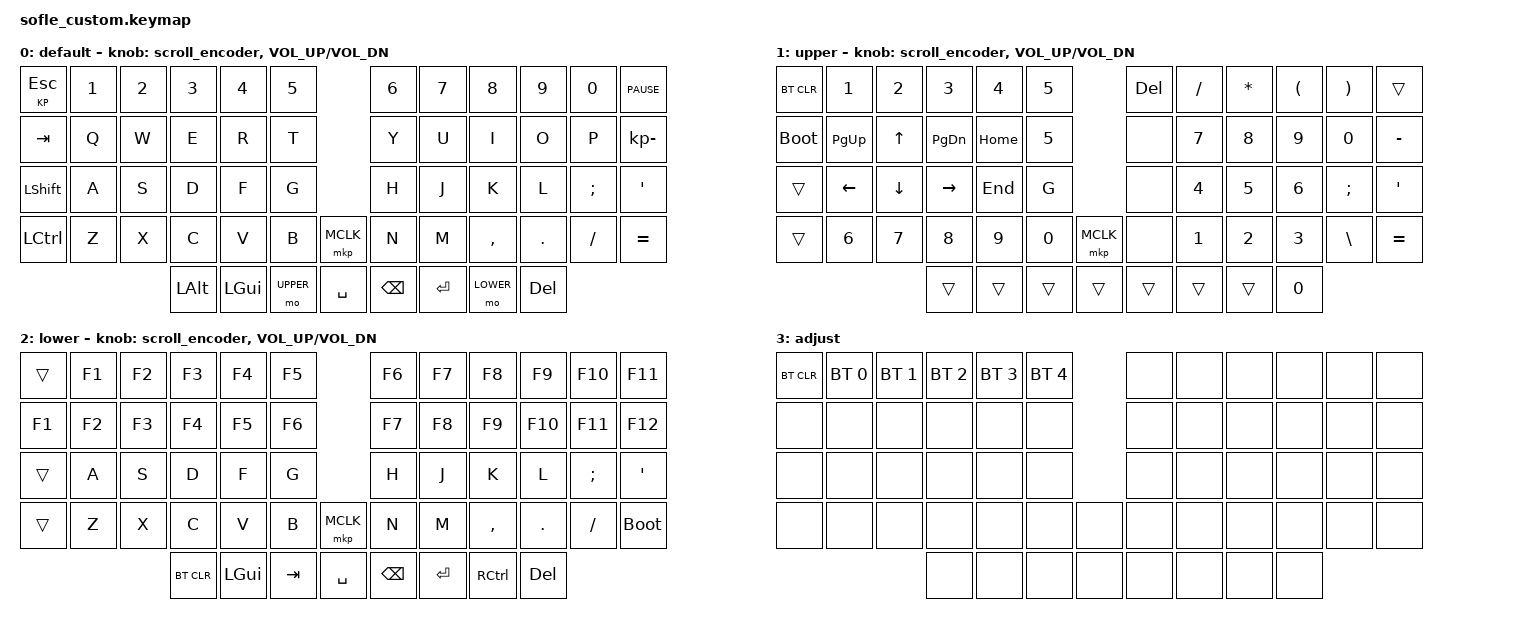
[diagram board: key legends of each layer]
/*
 * Copyright (c) 2020 The ZMK Contributors
 *
 * SPDX-License-Identifier: MIT
 */

#include <behaviors.dtsi>
#include <dt-bindings/zmk/keys.h>
#include <dt-bindings/zmk/bt.h>
#include <dt-bindings/zmk/ext_power.h>
#define ZMK_POINTING_DEFAULT_MOVE_VAL 600  // default: 600
#define ZMK_POINTING_DEFAULT_SCRL_VAL 10   // default: 10
#include <dt-bindings/zmk/pointing.h>

#define BASE 0
#define LOWER 1
#define UPPER 2
#define ADJUST 3

/ {
    behaviors {
        scroll_encoder: scroll_encoder {
            compatible = "zmk,behavior-sensor-rotate";
            #sensor-binding-cells = <0>;
            bindings = <&msc SCRL_DOWN>, <&msc SCRL_UP>;
            tap-ms = <30>;
        };
    };

    conditional_layers {
        compatible = "zmk,conditional-layers";
        adjust_layer {
            if-layers = <LOWER UPPER>;
            then-layer = <ADJUST>;
        };
    };

    keymap {
        compatible = "zmk,keymap";

        default_layer {
            display-name = "default";
// ------------------------------------------------------------------------------------------------------------
// |  ESC   |  1  |  2  |  3   |  4   |  5   |                   |  6    |  7    |  8    |  9   |   0   | PAUSE |
// |  TAB   |  Q  |  W  |  E   |  R   |  T   |                   |  Y    |  U    |  I    |  O   |   P   |   -   |
// |  SHIFT |  A  |  S  |  D   |  F   |  G   |                   |  H    |  J    |  K    |  L   |   ;   |   '   |
// |  CTRL  |  Z  |  X  |  C   |  V   |  B   |  MCLK  |          |  N    |  M    |  ,    |  .   |   /   | EQUAL |
//                      | ALT | GUI  | UPPER |  SPACE |  | SPACE | ENTER | LOWER |  DEL  |
            bindings = <
&KP ESC         &kp N1     &kp N2   &kp N3    &kp N4   &kp N5                         &kp N6    &kp N7     &kp N8     &kp N9   &kp N0    &kp C_PAUSE
&kp TAB         &kp Q      &kp W    &kp E     &kp R    &kp T                          &kp Y     &kp U      &kp I      &kp O    &kp P     &kp KP_MINUS
&kp LSHIFT      &kp A      &kp S    &kp D     &kp F    &kp G                          &kp H     &kp J      &kp K      &kp L    &kp SEMI  &kp SQT
&kp LCTRL       &kp Z      &kp X    &kp C     &kp V    &kp B      &mkp MCLK           &kp N     &kp M      &kp COMMA  &kp DOT  &kp FSLH  &kp EQUAL
                                    &kp LALT  &kp LGUI &mo UPPER  &kp SPACE &kp BSPC  &kp RET  &mo LOWER  &kp DEL>;

            sensor-bindings = <&scroll_encoder &inc_dec_kp C_VOL_UP C_VOL_DN>;
        };

        upper_layer {
            display-name = "upper";
// ------------------------------------------------------------------------------------------------------------
// |  BTCLEAR   |  1     |  2      |  3        |  4    |  5    |                    |  DEL   |  /    |  *    |  (   |   )   | T     |
// |  BOOT      |  PGUP  |  UP     |  PGDN     |  HOME |  NA   |                    |  NA    |  7    |  8    |  9   |   -   |   -   |
// |  T         |  LEFT  |  DOWN   |  RIGHT    |  END  |  NA   |                    |  NA    |  4    |  5    |  6   |   +   |   '   |
// |  T         |  6     |  7      |  8        |  9    |  0    |  MCLK  |           |  NA    |  1    |  2    |  3   |   /   | EQUAL |
//                                 | T         | T     | T     |  T     |   | T     |  T     |  T    |  0    |
            bindings = <
&bt BT_CLR  &kp N1      &kp N2      &kp N3      &kp N4      &kp N5                      &kp DEL     &kp FSLH    &kp ASTRK   &kp LPAR    &kp RPAR  &trans
&bootloader &kp PG_UP   &kp UP      &kp PG_DN   &kp HOME    &kp N5                      &none       &kp N7      &kp N8      &kp N9      &kp N0    &kp MINUS
&trans      &kp LEFT    &kp DOWN    &kp RIGHT   &kp END     &kp G                       &none       &kp N4      &kp N5      &kp N6      &kp SEMI  &kp SQT
&trans      &kp N6      &kp N7      &kp N8      &kp N9      &kp N0  &mkp MCLK           &none       &kp N1      &kp N2      &kp N3      &kp BSLH  &kp EQUAL
                                    &trans      &trans      &trans  &trans      &trans  &trans      &trans      &kp N0>;

            sensor-bindings = <&scroll_encoder &inc_dec_kp C_VOL_UP C_VOL_DN>;
        };

        lower_layer {
            display-name = "lower";
// ------------------------------------------------------------------------------------------------------------
// |  T   |  1  |  2  |  3   |  4   |  5   |                   |  6    |  7    |  8    |  9   |   0   | MUTE  |
// |  F1   |  F2  |  F3  |  F4   |  F5   |  F6   |                   |  F7    |  F8    |  F9    |  F10   |   F11   |   F12   |
// |  T |  A  |  S  |  D   |  F   |  G   |                   |  H    |  J    |  K    |  L   |   ;   |   '   |
// |  T  |  Z  |  X  |  C   |  V   |  B   |  MCLK  |          |  N    |  M    |  ,    |  .   |   /   | BOOT |
//                      | ALT | GUI  | UPPER |  SPACE |  | SPACE | ENTER | LOWER |  DEL  |
            bindings = <
&trans  &kp F1      &kp F2      &kp F3      &kp F4      &kp F5                                  &kp F6      &kp F7     &kp F8       &kp F9      &kp F10   &kp F11
&kp F1  &kp F2      &kp F3      &kp F4      &kp F5      &kp F6                                  &kp F7      &kp F8     &kp F9       &kp F10     &kp F11   &kp F12
&trans  &kp A       &kp S       &kp D       &kp F       &kp G                                   &kp H       &kp J      &kp K        &kp L       &kp SEMI  &kp SQT
&trans  &kp Z       &kp X       &kp C       &kp V       &kp B       &mkp MCLK                   &kp N       &kp M      &kp COMMA    &kp DOT     &kp FSLH  &bootloader
                                &bt BT_CLR  &kp LGUI    &kp TAB     &kp SPACE       &kp BSPC    &kp RET     &kp RCTRL  &kp DEL>;

            sensor-bindings = <&scroll_encoder &inc_dec_kp C_VOL_UP C_VOL_DN>;
        };

        adjust_layer {
            display-name = "adjust";
            bindings = <
&bt BT_CLR   &bt BT_SEL 0 &bt BT_SEL 1 &bt BT_SEL 2 &bt BT_SEL 3 &bt BT_SEL 4                  &none &none &none &none &none &none
&none        &none        &none        &none        &none        &none                         &none &none &none &none &none &none
&none        &none        &none        &none        &none        &none                         &none &none &none &none &none &none
&none        &none        &none        &none        &none        &none         &none           &none &none &none &none &none &none
                                       &none        &none        &none         &none    &none  &none &none &none
            >;
        };
    };
};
